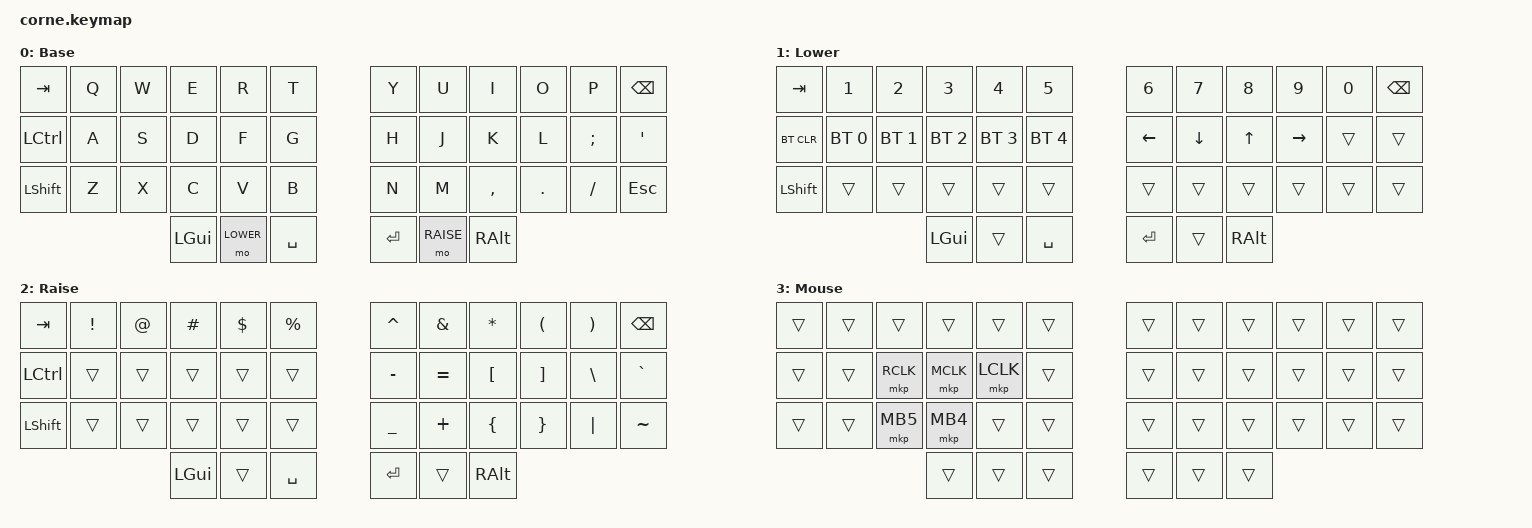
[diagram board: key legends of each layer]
/*
 * Corne v3 (6 colunas) + trackpad Azoteq TPS65 (lado direito)
 *
 * SPDX-License-Identifier: MIT
 */

#include <behaviors.dtsi>
#include <input/processors.dtsi>
#include <dt-bindings/zmk/keys.h>
#include <dt-bindings/zmk/bt.h>
#include <dt-bindings/zmk/pointing.h>

#define BASE  0
#define LOWER 1
#define RAISE 2
#define MOUSE 3

/*
 * Sempre que o trackpad é usado, a layer MOUSE fica ativa durante 700 ms
 * (ou até carregares numa tecla que não seja da layer). Assim tens os
 * botões do rato debaixo da mão esquerda sem mudar de layer manualmente.
 *
 * Se o cursor estiver rápido/lento demais, acrescenta um scaler, ex.:
 *   input-processors = <&zip_xy_scaler 3 2>, <&zip_temp_layer MOUSE 700>;
 */
&tps65_listener {
    input-processors = <&zip_temp_layer MOUSE 700>;
};

/ {
    keymap {
        compatible = "zmk,keymap";

        base_layer {
            display-name = "Base";
// -----------------------------------------------------------------------------------------
// |  TAB |  Q  |  W  |  E  |  R  |  T  |   |  Y  |  U   |  I  |  O  |  P  | BSPC |
// | CTRL |  A  |  S  |  D  |  F  |  G  |   |  H  |  J   |  K  |  L  |  ;  |  '   |
// | SHFT |  Z  |  X  |  C  |  V  |  B  |   |  N  |  M   |  ,  |  .  |  /  | ESC  |
//                    | GUI | LWR | SPC |   | ENT | RSE  | ALT |
            bindings = <
   &kp TAB   &kp Q &kp W &kp E &kp R &kp T   &kp Y &kp U  &kp I     &kp O   &kp P    &kp BSPC
   &kp LCTRL &kp A &kp S &kp D &kp F &kp G   &kp H &kp J  &kp K     &kp L   &kp SEMI &kp SQT
   &kp LSHFT &kp Z &kp X &kp C &kp V &kp B   &kp N &kp M  &kp COMMA &kp DOT &kp FSLH &kp ESC
                  &kp LGUI &mo LOWER &kp SPACE   &kp RET &mo RAISE &kp RALT
            >;
        };

        lower_layer {
            display-name = "Lower";
// -----------------------------------------------------------------------------------------
// |  TAB |  1  |  2  |  3  |  4  |  5  |   |  6  |  7  |  8  |  9  |  0  | BSPC |
// | BTCLR| BT1 | BT2 | BT3 | BT4 | BT5 |   | LFT | DWN |  UP | RGT |     |      |
// | SHFT |     |     |     |     |     |   |     |     |     |     |     |      |
//                    | GUI |     | SPC |   | ENT |     | ALT |
            bindings = <
   &kp TAB    &kp N1       &kp N2       &kp N3       &kp N4       &kp N5         &kp N6   &kp N7   &kp N8 &kp N9    &kp N0 &kp BSPC
   &bt BT_CLR &bt BT_SEL 0 &bt BT_SEL 1 &bt BT_SEL 2 &bt BT_SEL 3 &bt BT_SEL 4   &kp LEFT &kp DOWN &kp UP &kp RIGHT &trans &trans
   &kp LSHFT  &trans       &trans       &trans       &trans       &trans         &trans   &trans   &trans &trans    &trans &trans
                                        &kp LGUI     &trans       &kp SPACE      &kp RET  &trans   &kp RALT
            >;
        };

        raise_layer {
            display-name = "Raise";
// -----------------------------------------------------------------------------------------
// |  TAB |  !  |  @  |  #  |  $  |  %  |   |  ^  |  &  |  *  |  (  |  )  | BSPC |
// | CTRL |     |     |     |     |     |   |  -  |  =  |  [  |  ]  |  \  |  `   |
// | SHFT |     |     |     |     |     |   |  _  |  +  |  {  |  }  | "|" |  ~   |
//                    | GUI |     | SPC |   | ENT |     | ALT |
            bindings = <
   &kp TAB   &kp EXCL &kp AT &kp HASH &kp DLLR &kp PRCNT   &kp CARET &kp AMPS  &kp ASTRK &kp LPAR &kp RPAR &kp BSPC
   &kp LCTRL &trans   &trans &trans   &trans   &trans      &kp MINUS &kp EQUAL &kp LBKT  &kp RBKT &kp BSLH &kp GRAVE
   &kp LSHFT &trans   &trans &trans   &trans   &trans      &kp UNDER &kp PLUS  &kp LBRC  &kp RBRC &kp PIPE &kp TILDE
                               &kp LGUI &trans   &kp SPACE   &kp RET   &trans    &kp RALT
            >;
        };

        mouse_layer {
            display-name = "Mouse";
// Ativada automaticamente quando se usa o trackpad (ver &tps65_listener acima)
// -----------------------------------------------------------------------------------------
// |      |     |     |     |     |     |   |     |     |     |     |     |      |
// |      |     | RCLK| MCLK| LCLK|     |   |     |     |     |     |     |      |
// |      |     | MB5 | MB4 |     |     |   |     |     |     |     |     |      |
//                    |     |     |     |   |     |     |     |
            bindings = <
   &trans &trans &trans    &trans    &trans    &trans      &trans &trans &trans &trans &trans &trans
   &trans &trans &mkp RCLK &mkp MCLK &mkp LCLK &trans      &trans &trans &trans &trans &trans &trans
   &trans &trans &mkp MB5  &mkp MB4  &trans    &trans      &trans &trans &trans &trans &trans &trans
                           &trans    &trans    &trans      &trans &trans &trans
            >;
        };
    };
};
